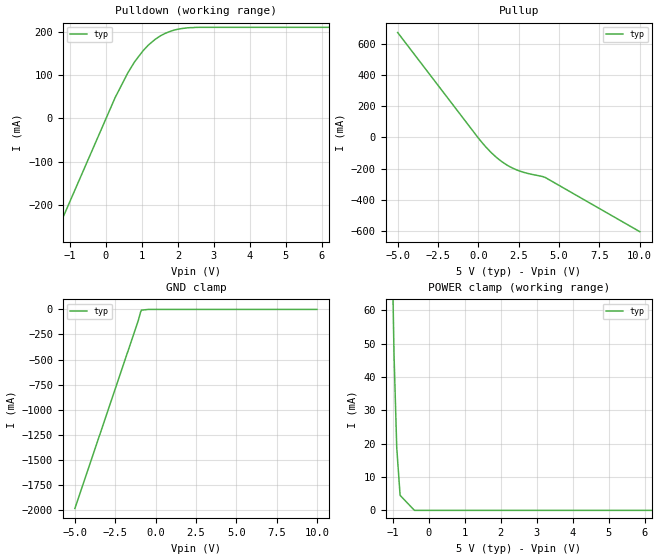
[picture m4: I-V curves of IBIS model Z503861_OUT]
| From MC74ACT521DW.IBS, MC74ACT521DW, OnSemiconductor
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| (C) COPYRIGHT 1993-2000
| MENTOR GRAPHICS CORPORATION
| ICX STANDARD LIBRARY, ICX PROJECT MODELING,
| ICX CUSTOM MODELING, ICX VENDOR MODEL
| ALL RIGHTS RESERVED.
| THE FOLLOWING ARE TRADEMARKS OR SERVICE MARKS OF
| MENTOR GRAPHICS CORPORATION:ICX (R), ICX STANDARD
| LIBRARY(R), ICX PROJECT MODELING(R), ICX CUSTOM
| MODELING(R), qualityIBIS(TM), MODELVIEWER(TM),
| AND MODELEDITOR(TM)
| ALL COPIES OF SOFTWARE, INCLUDING BUT NOT LIMITED TO
| ANY MODIFICATIONS, ENHANCEMENTS OR DERIVATIVE WORKS,
| MUST CONTAIN ALL MENTOR GRAPHICS CORPORATION'S
| NOTICES AND LEGENDS, INCLUDING THOSE EMBEDDED IN
| SOFTWARE AND THOSE AFFIXED TO SOFTWARE MEDIUM
| AND CONTAINER, AS RECEIVED FROM MENTOR GRAPHICS
| CORPORATION.
| Model Application Version 1.89 2/18/99.
[Model] Z503861_OUT
Model_type Output
Vref=0.000V
Rref=500.0ohms
Cref=50.00pF
Vmeas=1.500V
C_comp 8.000pF NA NA
| variable typ   min   max
[Voltage Range] 5.000V NA NA
[POWER Clamp Reference] 5.000V NA NA
[Pullup Reference] 5.000V NA NA
[Pulldown Reference] 0.000V NA NA
[GND Clamp Reference] 0.000V NA NA
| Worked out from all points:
|   slope of the pulldown table from 0 to 0.75 V, typ, clamps not added: 5.99 ohm
|   slope of the pullup table from 0 to 0.75 V, typ, clamps not added: 8.5 ohm
[GND Clamp]
-5V       -1.986A    NA         NA
-1.068V   -109.5mA   NA         NA
-927.9mV  -26.57mA   NA         NA
-878.3mV  -7.452mA   NA         NA
-439.2mV  0A         NA         NA
10V       0A         NA         NA
[Pulldown]
-5V       -956.7mA   NA         NA
254.2mV   48.01mA    NA         NA
610.8mV   105.8mA    NA         NA
801.2mV   131.5mA    NA         NA
1.036V    157mA      NA         NA
1.366V    182.8mA    NA         NA
1.515V    191.1mA    NA         NA
1.807V    202mA      NA         NA
2.099V    207.8mA    NA         NA
2.611V    210.7mA    NA         NA
10V       210.7mA    NA         NA
[Pullup]
-5V       672.3mA    NA         NA
33mV      -8.3mA     NA         NA
777mV     -95.08mA   NA         NA
1.158V    -131.2mA   NA         NA
1.749V    -175.3mA   NA         NA
2.432V    -210.2mA   NA         NA
4.14V     -256mA     NA         NA
10V       -603.4mA   NA         NA
[POWER Clamp]
-5V       2.482A     NA         NA
-965mV    46.75mA    NA         NA
-889mV    18.73mA    NA         NA
-796mV    4.501mA    NA         NA
-398mV    0A         NA         NA
10V       0A         NA         NA
[Ramp]
| variable typ min max
dV/dt_r 2.970/198.4p NA NA
dV/dt_f 2.970/196.6p NA NA
R_load = 500.0Ohms
